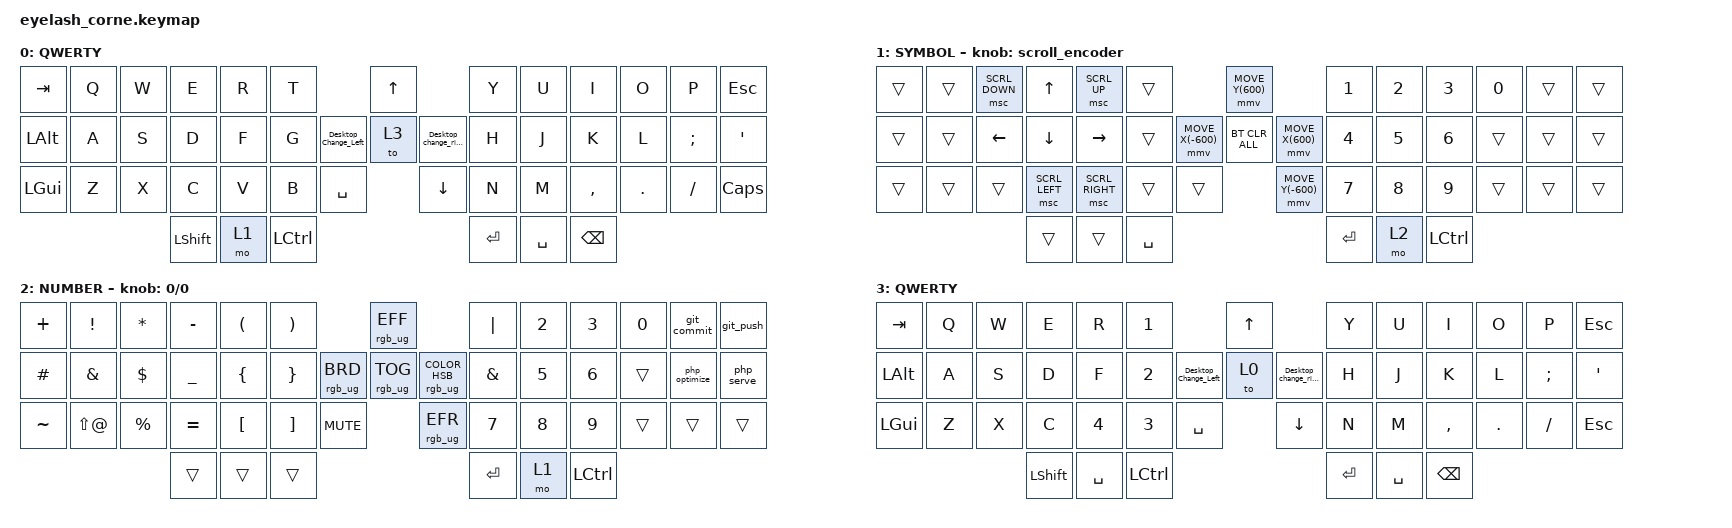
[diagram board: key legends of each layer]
#include <dt-bindings/zmk/mouse.h>
#include <input/processors.dtsi>
#include <behaviors.dtsi>
#include <dt-bindings/zmk/bt.h>
#include <dt-bindings/zmk/keys.h>
#include <dt-bindings/zmk/pointing.h>
#include <dt-bindings/zmk/rgb.h>

/*

   &mmv_input_listener {
       input-processors = <&zip_xy_scaler 2 1>;
   };

   &msc_input_listener {
       input-processors = <&zip_xy_scaler 2 1>;
   };

 */

#define ZMK_MOUSE_DEFAULT_MOVE_VAL 1200  // 600
#define ZMK_MOUSE_DEFAULT_SCRL_VAL 20    // 10

/ {
    behaviors {
        td0: td0 {
            compatible = "zmk,behavior-tap-dance";
            display-name = "Shift/Caps Lock Tap Dance";
            #binding-cells = <0>;
            bindings = <&kp LEFT_SHIFT>, <&kp CAPS>;
        };
    };

    rgb_encoder: rgb_encoder {
        compatible = "zmk,behavior-sensor-rotate";
        #sensor-binding-cells = <0>;
        bindings = <&rgb_ug RGB_BRI>, <&rgb_ug RGB_BRD>;
    };

    scroll_encoder: scroll_encoder {
        compatible = "zmk,behavior-sensor-rotate";
        #sensor-binding-cells = <0>;
        bindings = <&msc SCRL_DOWN>, <&msc SCRL_UP>;

        tap-ms = <30>;
    };

    macros {
        Desktop_Change_Left: Desktop_Change {
            compatible = "zmk,behavior-macro";
            #binding-cells = <0>;
            bindings = <&kp RG(LC(LEFT_ARROW))>;
            label = "DESKTOP_CHANGE";
        };

        Desktop_change_right: Desktop_change_right {
            compatible = "zmk,behavior-macro";
            #binding-cells = <0>;
            bindings = <&kp RG(LC(RIGHT))>;
            label = "DESKTOP_CHANGE_RIGHT";
        };

        Change_window: tab {
            compatible = "zmk,behavior-macro";
            #binding-cells = <0>;
            bindings = <&kp LA(TAB)>;
            label = "TAB";
        };

        git_commit: git_commit {
            compatible = "zmk,behavior-macro";
            #binding-cells = <0>;
            bindings = <&kp G &kp I &kp T &kp SPACE &kp A &kp D &kp D &kp SPACE &kp DOT &kp RET &kp G &kp I &kp T &kp SPACE &kp C &kp O &kp M &kp M &kp I &kp T &kp SPACE &kp MINUS &kp M &kp SPACE &kp SQT>;
            label = "GIT_COMMIT";
        };

        git_push: git_push {
            compatible = "zmk,behavior-macro";
            #binding-cells = <0>;
            bindings = <&kp SQT &kp RET &kp G &kp I &kp T &kp SPACE &kp P &kp U &kp S &kp H>;
            label = "GIT_PUSH";
        };

        php_optimize: php_optimize {
            compatible = "zmk,behavior-macro";
            #binding-cells = <0>;
            bindings = <&kp P &kp H &kp P &kp SPACE &kp A &kp R &kp T &kp I &kp S &kp A &kp N &kp SPACE &kp O &kp P &kp T &kp I &kp M &kp I &kp Z &kp E>;
            label = "PHP_OPTIMIZE";
        };

        php_serve: php_serve {
            compatible = "zmk,behavior-macro";
            #binding-cells = <0>;
            bindings = <&kp I &kp P &kp C &kp O &kp N &kp F &kp I &kp G &kp RET &kp P &kp H &kp P &kp SPACE &kp A &kp R &kp T &kp I &kp S &kp A &kp N &kp SPACE &kp S &kp E &kp R &kp V &kp E &kp SPACE &kp MINUS &kp MINUS &kp H &kp O &kp S &kp T &kp EQUAL &kp N1 &kp N9 &kp N2 &kp DOT &kp N1 &kp N6 &kp N8 &kp DOT &kp N1 &kp DOT>;
            label = "PHP_SERVE";
        };
    };

    keymap {
        compatible = "zmk,keymap";

        default_layer {
            display-name = "QWERTY";
            bindings = <
&kp TAB       &kp Q  &kp W  &kp E           &kp R  &kp T                                         &kp UP_ARROW                         &kp Y      &kp U      &kp I          &kp O    &kp P     &kp ESCAPE
&kp LEFT_ALT  &kp A  &kp S  &kp D           &kp F  &kp G                   &Desktop_Change_Left  &to 3         &Desktop_change_right  &kp H      &kp J      &kp K          &kp L    &kp SEMI  &kp SQT
&kp LEFT_GUI  &kp Z  &kp X  &kp C           &kp V  &kp B      &kp SPACE                          &kp DOWN                             &kp N      &kp M      &kp COMMA      &kp DOT  &kp FSLH  &kp CLCK
                            &kp LEFT_SHIFT  &mo 1  &kp LCTRL                                                                          &kp ENTER  &kp SPACE  &kp BACKSPACE
            >;
        };

        raise_layer {
            display-name = "SYMBOL";
            bindings = <
&trans  &trans  &msc SCRL_DOWN  &kp UP_ARROW    &msc SCRL_UP     &trans                                  &mmv MOVE_Y(600)                     &kp NUMBER_1  &kp NUMBER_2  &kp NUMBER_3      &kp N0  &trans  &trans
&trans  &trans  &kp LEFT        &kp DOWN        &kp RIGHT        &trans               &mmv MOVE_X(-600)  &bt BT_CLR_ALL     &mmv MOVE_X(600)  &kp NUMBER_4  &kp N5        &kp NUMBER_6      &trans  &trans  &trans
&trans  &trans  &trans          &msc SCRL_LEFT  &msc SCRL_RIGHT  &trans     &trans                       &mmv MOVE_Y(-600)                    &kp N7        &kp N8        &kp N9            &trans  &trans  &trans
                                &trans          &trans           &kp SPACE                                                                    &kp RET       &mo 2         &kp LEFT_CONTROL
            >;

            sensor-bindings = <&scroll_encoder>;
        };

        lower_layer {
            display-name = "NUMBER";
            bindings = <
&kp PLUS   &kp EXCLAMATION  &kp ASTERISK  &kp MINUS       &kp LEFT_PARENTHESIS  &kp RIGHT_PARENTHESIS                                 &rgb_ug RGB_EFF                                    &kp PIPE       &kp NUMBER_2  &kp NUMBER_3  &kp N0  &git_commit    &git_push
&kp HASH   &kp AMPERSAND    &kp DOLLAR    &kp UNDERSCORE  &kp LEFT_BRACE        &kp RIGHT_BRACE                      &rgb_ug RGB_BRD  &rgb_ug RGB_TOG  &rgb_ug RGB_COLOR_HSB(0,100,100)  &kp AMPERSAND  &kp N5        &kp NUMBER_6  &trans  &php_optimize  &php_serve
&kp TILDE  &kp LS(AT_SIGN)  &kp PERCENT   &kp EQUAL       &kp LEFT_BRACKET      &kp RIGHT_BRACKET      &kp C_MUTE                     &rgb_ug RGB_EFR                                    &kp N7         &kp N8        &kp N9        &trans  &trans         &trans
                                          &trans          &trans                &trans                                                                                                   &kp ENTER      &mo 1         &kp LCTRL
            >;

            sensor-bindings = <&inc_dec_kp 0 0>;
        };

        layer_4 {
            display-name = "QWERTY";
            bindings = <
&kp TAB       &kp Q  &kp W  &kp E           &kp R         &kp NUMBER_1                                     &kp UP_ARROW                         &kp Y      &kp U      &kp I          &kp O    &kp P     &kp ESCAPE
&kp LEFT_ALT  &kp A  &kp S  &kp D           &kp F         &kp NUMBER_2               &Desktop_Change_Left  &to 0         &Desktop_change_right  &kp H      &kp J      &kp K          &kp L    &kp SEMI  &kp SQT
&kp LEFT_GUI  &kp Z  &kp X  &kp C           &kp NUMBER_4  &kp NUMBER_3  &kp SPACE                          &kp DOWN                             &kp N      &kp M      &kp COMMA      &kp DOT  &kp FSLH  &kp ESC
                            &kp LEFT_SHIFT  &kp SPACE     &kp LCTRL                                                                             &kp ENTER  &kp SPACE  &kp BACKSPACE
            >;
        };
    };
};
